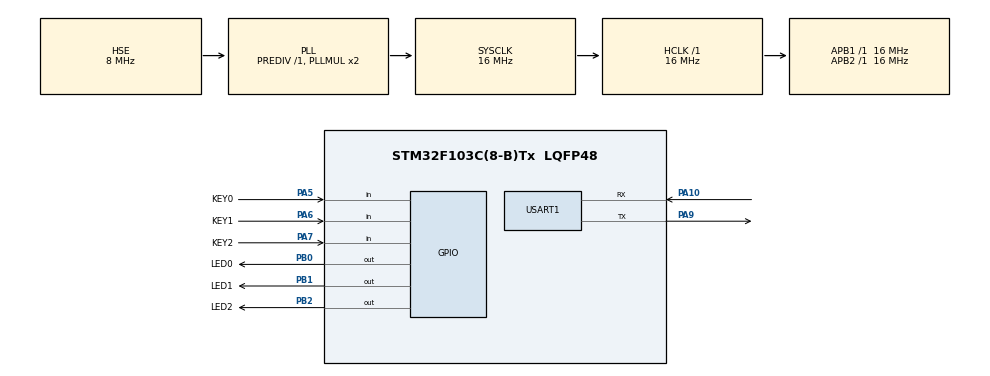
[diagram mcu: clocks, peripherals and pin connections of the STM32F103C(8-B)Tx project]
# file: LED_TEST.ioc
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Mcu.Family=STM32F1
Mcu.Name=STM32F103C(8-B)Tx
Mcu.Package=LQFP48
NVIC.PriorityGroup=NVIC_PRIORITYGROUP_4
NVIC.TIM3_IRQn=true\:0\:0\:false\:false\:true\:true
PA10.Mode=Asynchronous
PA10.Signal=USART1_RX
PA13.Mode=Serial_Wire
PA13.Signal=SYS_JTMS-SWDIO
PA14.Mode=Serial_Wire
PA14.Signal=SYS_JTCK-SWCLK
PA5.GPIO_Label=KEY0
PA5.GPIO_PuPd=GPIO_PULLUP
PA5.Signal=GPIO_Input
PA6.GPIO_Label=KEY1
PA6.GPIO_PuPd=GPIO_PULLUP
PA6.Signal=GPIO_Input
PA7.GPIO_Label=KEY2
PA7.GPIO_PuPd=GPIO_PULLUP
PA7.Signal=GPIO_Input
PA9.Mode=Asynchronous
PA9.Signal=USART1_TX
PB0.GPIO_Label=LED0
PB0.Signal=GPIO_Output
PB1.GPIO_Label=LED1
PB1.Signal=GPIO_Output
PB2.GPIO_Label=LED2
PB2.Signal=GPIO_Output
PD0-OSC_IN.Mode=HSE-External-Oscillator
PD0-OSC_IN.Signal=RCC_OSC_IN
PD1-OSC_OUT.Mode=HSE-External-Oscillator
PD1-OSC_OUT.Signal=RCC_OSC_OUT
ProjectManager.HeapSize=0x200
ProjectManager.StackSize=0x400
ProjectManager.TargetToolchain=MDK-ARM V5
RCC.AHBFreq_Value=16000000
RCC.APB1Freq_Value=16000000
RCC.APB1TimFreq_Value=16000000
RCC.APB2Freq_Value=16000000
RCC.APB2TimFreq_Value=16000000
RCC.HCLKFreq_Value=16000000
RCC.PLLSourceVirtual=RCC_PLLSOURCE_HSE
RCC.SYSCLKFreq_VALUE=16000000
RCC.SYSCLKSource=RCC_SYSCLKSOURCE_PLLCLK
RCC.USBFreq_Value=16000000
TIM3.Period=5000
TIM3.Prescaler=72-1
USART1.VirtualMode=VM_ASYNC
VP_TIM3_VS_ClockSourceINT.Mode=Internal
board=custom

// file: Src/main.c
/**
  ******************************************************************************
  * @file           : main.c
  * @brief          : Main program body
  ******************************************************************************
  ** This notice applies to any and all portions of this file
  * that are not between comment pairs USER CODE BEGIN and
  * USER CODE END. Other portions of this file, whether
  * inserted by the user or by software development tools
  * are owned by their respective copyright owners.
  *
  * COPYRIGHT(c) 2018 STMicroelectronics
  *
  * Redistribution and use in source and binary forms, with or without modification,
  * are permitted provided that the following conditions are met:
  *   1. Redistributions of source code must retain the above copyright notice,
  *      this list of conditions and the following disclaimer.
  *   2. Redistributions in binary form must reproduce the above copyright notice,
  *      this list of conditions and the following disclaimer in the documentation
  *      and/or other materials provided with the distribution.
  *   3. Neither the name of STMicroelectronics nor the names of its contributors
  *      may be used to endorse or promote products derived from this software
  *      without specific prior written permission.
  *
  * THIS SOFTWARE IS PROVIDED BY THE COPYRIGHT HOLDERS AND CONTRIBUTORS "AS IS"
  * AND ANY EXPRESS OR IMPLIED WARRANTIES, INCLUDING, BUT NOT LIMITED TO, THE
  * IMPLIED WARRANTIES OF MERCHANTABILITY AND FITNESS FOR A PARTICULAR PURPOSE ARE
  * DISCLAIMED. IN NO EVENT SHALL THE COPYRIGHT HOLDER OR CONTRIBUTORS BE LIABLE
  * FOR ANY DIRECT, INDIRECT, INCIDENTAL, SPECIAL, EXEMPLARY, OR CONSEQUENTIAL
  * DAMAGES (INCLUDING, BUT NOT LIMITED TO, PROCUREMENT OF SUBSTITUTE GOODS OR
  * SERVICES; LOSS OF USE, DATA, OR PROFITS; OR BUSINESS INTERRUPTION) HOWEVER
  * CAUSED AND ON ANY THEORY OF LIABILITY, WHETHER IN CONTRACT, STRICT LIABILITY,
  * OR TORT (INCLUDING NEGLIGENCE OR OTHERWISE) ARISING IN ANY WAY OUT OF THE USE
  * OF THIS SOFTWARE, EVEN IF ADVISED OF THE POSSIBILITY OF SUCH DAMAGE.
  *
  ******************************************************************************
  */
#include "main.h"
#include "stm32f1xx_hal.h"

/* USER CODE BEGIN Includes */
#include "led.h"
#include "key.h"
#include "multi_button.h"
/* USER CODE END Includes */

TIM_HandleTypeDef htim3;

UART_HandleTypeDef huart1;

/* USER CODE BEGIN PV */
/* Private variables ---------------------------------------------------------*/
/* USER CODE END PV */

void SystemClock_Config(void);
static void MX_GPIO_Init(void);
static void MX_USART1_UART_Init(void);
static void MX_TIM3_Init(void);

/* USER CODE BEGIN PFP */
/* Private function prototypes -----------------------------------------------*/

/* USER CODE END PFP */

/* USER CODE BEGIN 0 */

void BTN1_PRESS_DOWN_Handler(void* btn)
{
  led_set(&led0,1);
  printf("BTN1_PRESS_DOWN_Handler\r\n");
}

void BTN1_PRESS_UP_Handler(void* btn)
{
  led_set(&led0,0);
  printf("BTN1_PRESS_UP_Handler\r\n");
}

void BTN1_PRESS_REPEAT_Handler(void* btn)
{
  printf("BTN1_PRESS_REPEAT_Handler\r\n");
}

void BTN1_SINGLE_Click_Handler(void* btn)
{
  printf("BTN1_SINGLE_Click_Handler\r\n");
}
void BTN1_DOUBLE_Click_Handler(void* btn)
{
  printf("BTN1_DOUBLE_Click_Handler\r\n");
}
void BTN1_LONG_RRESS_START_Handler(void* btn)
{
  printf("BTN1_LONG_RRESS_START_Handler\r\n");
}
void BTN1_LONG_PRESS_HOLD_Handler(void* btn)
{
  printf("BTN1_LONG_PRESS_HOLD_Handler\r\n");
}

int fputc(int ch, FILE *f) {

  HAL_UART_Transmit(&huart1,(uint8_t*)&ch,1,1000);
  return(ch);
}

/* USER CODE END 0 */

int main(void)
{
  /* USER CODE BEGIN 1 */
  Button button1;
  /* USER CODE END 1 */

  /* MCU Configuration----------------------------------------------------------*/

  /* Reset of all peripherals, Initializes the Flash interface and the Systick. */
  HAL_Init();

  /* USER CODE BEGIN Init */
	button_init(&button1,drv_key0_getsta,0);
	button_attach(&button1, PRESS_DOWN,       BTN1_PRESS_DOWN_Handler);
	button_attach(&button1, PRESS_UP,         BTN1_PRESS_UP_Handler);
	button_attach(&button1, PRESS_REPEAT,     BTN1_PRESS_REPEAT_Handler);
	button_attach(&button1, SINGLE_CLICK,     BTN1_SINGLE_Click_Handler);
	button_attach(&button1, DOUBLE_CLICK,     BTN1_DOUBLE_Click_Handler);
	button_attach(&button1, LONG_RRESS_START, BTN1_LONG_RRESS_START_Handler);
	button_attach(&button1, LONG_PRESS_HOLD,  BTN1_LONG_PRESS_HOLD_Handler);

  /* USER CODE END Init */

  /* Configure the system clock */
  SystemClock_Config();

  /* Initialize all configured peripherals */
  MX_GPIO_Init();
  MX_USART1_UART_Init();
  MX_TIM3_Init();
  /* USER CODE BEGIN 2 */

  HAL_TIM_Base_Start_IT(&htim3);
  button_start(&button1);

  /* USER CODE END 2 */

  /* Infinite loop */
  while (1)
  {

  /* USER CODE BEGIN 3 */
	printf("123456789");
	HAL_Delay(1000);
  }
  /* USER CODE END 3 */

}

void SystemClock_Config(void)
{

  RCC_OscInitTypeDef RCC_OscInitStruct;
  RCC_ClkInitTypeDef RCC_ClkInitStruct;

    /**Initializes the CPU, AHB and APB busses clocks
    */
  RCC_OscInitStruct.OscillatorType = RCC_OSCILLATORTYPE_HSE;
  RCC_OscInitStruct.HSEState = RCC_HSE_ON;
  RCC_OscInitStruct.HSEPredivValue = RCC_HSE_PREDIV_DIV1;
  RCC_OscInitStruct.HSIState = RCC_HSI_ON;
  RCC_OscInitStruct.PLL.PLLState = RCC_PLL_ON;
  RCC_OscInitStruct.PLL.PLLSource = RCC_PLLSOURCE_HSE;
  RCC_OscInitStruct.PLL.PLLMUL = RCC_PLL_MUL2;
  if (HAL_RCC_OscConfig(&RCC_OscInitStruct) != HAL_OK)
  {
    _Error_Handler(__FILE__, __LINE__);
  }

    /**Initializes the CPU, AHB and APB busses clocks
    */
  RCC_ClkInitStruct.ClockType = RCC_CLOCKTYPE_HCLK|RCC_CLOCKTYPE_SYSCLK
                              |RCC_CLOCKTYPE_PCLK1|RCC_CLOCKTYPE_PCLK2;
  RCC_ClkInitStruct.SYSCLKSource = RCC_SYSCLKSOURCE_PLLCLK;
  RCC_ClkInitStruct.AHBCLKDivider = RCC_SYSCLK_DIV1;
  RCC_ClkInitStruct.APB1CLKDivider = RCC_HCLK_DIV1;
  RCC_ClkInitStruct.APB2CLKDivider = RCC_HCLK_DIV1;

  if (HAL_RCC_ClockConfig(&RCC_ClkInitStruct, FLASH_LATENCY_0) != HAL_OK)
  {
    _Error_Handler(__FILE__, __LINE__);
  }

    /**Configure the Systick interrupt time
    */
  HAL_SYSTICK_Config(HAL_RCC_GetHCLKFreq()/1000);

    /**Configure the Systick
    */
  HAL_SYSTICK_CLKSourceConfig(SYSTICK_CLKSOURCE_HCLK);

  /* SysTick_IRQn interrupt configuration */
  HAL_NVIC_SetPriority(SysTick_IRQn, 0, 0);
}

/* TIM3 init function */
static void MX_TIM3_Init(void)
{

  TIM_ClockConfigTypeDef sClockSourceConfig;
  TIM_MasterConfigTypeDef sMasterConfig;

  htim3.Instance = TIM3;
  htim3.Init.Prescaler = 72-1;
  htim3.Init.CounterMode = TIM_COUNTERMODE_UP;
  htim3.Init.Period = 5000;
  htim3.Init.ClockDivision = TIM_CLOCKDIVISION_DIV1;
  htim3.Init.AutoReloadPreload = TIM_AUTORELOAD_PRELOAD_DISABLE;
  if (HAL_TIM_Base_Init(&htim3) != HAL_OK)
  {
    _Error_Handler(__FILE__, __LINE__);
  }

  sClockSourceConfig.ClockSource = TIM_CLOCKSOURCE_INTERNAL;
  if (HAL_TIM_ConfigClockSource(&htim3, &sClockSourceConfig) != HAL_OK)
  {
    _Error_Handler(__FILE__, __LINE__);
  }

  sMasterConfig.MasterOutputTrigger = TIM_TRGO_RESET;
  sMasterConfig.MasterSlaveMode = TIM_MASTERSLAVEMODE_DISABLE;
  if (HAL_TIMEx_MasterConfigSynchronization(&htim3, &sMasterConfig) != HAL_OK)
  {
    _Error_Handler(__FILE__, __LINE__);
  }

}

/* USART1 init function */
static void MX_USART1_UART_Init(void)
{

  huart1.Instance = USART1;
  huart1.Init.BaudRate = 115200;
  huart1.Init.WordLength = UART_WORDLENGTH_8B;
  huart1.Init.StopBits = UART_STOPBITS_1;
  huart1.Init.Parity = UART_PARITY_NONE;
  huart1.Init.Mode = UART_MODE_TX_RX;
  huart1.Init.HwFlowCtl = UART_HWCONTROL_NONE;
  huart1.Init.OverSampling = UART_OVERSAMPLING_16;
  if (HAL_UART_Init(&huart1) != HAL_OK)
  {
    _Error_Handler(__FILE__, __LINE__);
  }

}

/** Configure pins as
        * Analog
        * Input
        * Output
        * EVENT_OUT
        * EXTI
*/
static void MX_GPIO_Init(void)
{

  GPIO_InitTypeDef GPIO_InitStruct;

  /* GPIO Ports Clock Enable */
  __HAL_RCC_GPIOD_CLK_ENABLE();
  __HAL_RCC_GPIOA_CLK_ENABLE();
  __HAL_RCC_GPIOB_CLK_ENABLE();

  /*Configure GPIO pin Output Level */
  HAL_GPIO_WritePin(GPIOB, LED0_Pin|LED1_Pin|LED2_Pin, GPIO_PIN_RESET);

  /*Configure GPIO pins : KEY0_Pin KEY1_Pin KEY2_Pin */
  GPIO_InitStruct.Pin = KEY0_Pin|KEY1_Pin|KEY2_Pin;
  GPIO_InitStruct.Mode = GPIO_MODE_INPUT;
  GPIO_InitStruct.Pull = GPIO_PULLUP;
  HAL_GPIO_Init(GPIOA, &GPIO_InitStruct);

  /*Configure GPIO pins : LED0_Pin LED1_Pin LED2_Pin */
  GPIO_InitStruct.Pin = LED0_Pin|LED1_Pin|LED2_Pin;
  GPIO_InitStruct.Mode = GPIO_MODE_OUTPUT_PP;
  GPIO_InitStruct.Pull = GPIO_NOPULL;
  GPIO_InitStruct.Speed = GPIO_SPEED_FREQ_LOW;
  HAL_GPIO_Init(GPIOB, &GPIO_InitStruct);

}

void _Error_Handler(char *file, int line)
{
  while(1)
  {
  }
}

/************************ (C) COPYRIGHT STMicroelectronics *****END OF FILE****/
